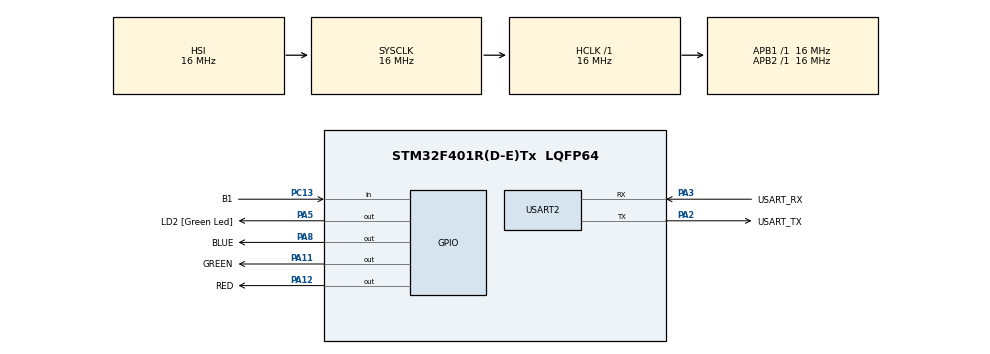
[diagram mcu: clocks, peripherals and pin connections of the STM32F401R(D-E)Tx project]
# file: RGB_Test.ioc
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Mcu.Family=STM32F4
Mcu.Name=STM32F401R(D-E)Tx
Mcu.Package=LQFP64
NVIC.PriorityGroup=NVIC_PRIORITYGROUP_4
PA11.GPIO_Label=GREEN
PA11.Signal=GPIO_Output
PA12.GPIO_Label=RED
PA12.Signal=GPIO_Output
PA13.GPIO_Label=TMS
PA13.Mode=Trace_Asynchronous_SW
PA13.Signal=SYS_JTMS-SWDIO
PA14.GPIO_Label=TCK
PA14.Mode=Trace_Asynchronous_SW
PA14.Signal=SYS_JTCK-SWCLK
PA2.GPIO_Label=USART_TX
PA2.GPIO_Mode=GPIO_MODE_AF_PP
PA2.GPIO_PuPd=GPIO_NOPULL
PA2.GPIO_Speed=GPIO_SPEED_FREQ_LOW
PA2.Mode=Asynchronous
PA2.Signal=USART2_TX
PA3.GPIO_Label=USART_RX
PA3.GPIO_Mode=GPIO_MODE_AF_PP
PA3.GPIO_PuPd=GPIO_NOPULL
PA3.GPIO_Speed=GPIO_SPEED_FREQ_LOW
PA3.Mode=Asynchronous
PA3.Signal=USART2_RX
PA5.GPIO_Label=LD2 [Green Led]
PA5.GPIO_Mode=GPIO_MODE_OUTPUT_PP
PA5.GPIO_PuPd=GPIO_NOPULL
PA5.GPIO_Speed=GPIO_SPEED_FREQ_LOW
PA5.Signal=GPIO_Output
PA8.GPIO_Label=BLUE
PA8.Signal=GPIO_Output
PB3.GPIO_Label=SWO
PB3.Mode=Trace_Asynchronous_SW
PB3.Signal=SYS_JTDO-SWO
PC13-ANTI_TAMP.GPIO_Label=B1
PC13-ANTI_TAMP.Signal=GPIO_Input
PC14-OSC32_IN.Mode=LSE-External-Oscillator
PC14-OSC32_IN.Signal=RCC_OSC32_IN
PC15-OSC32_OUT.Mode=LSE-External-Oscillator
PC15-OSC32_OUT.Signal=RCC_OSC32_OUT
PH0\ -\ OSC_IN.Mode=HSE-External-Clock-Source
PH0\ -\ OSC_IN.Signal=RCC_OSC_IN
PH1\ -\ OSC_OUT.Mode=HSE-External-Clock-Source
PH1\ -\ OSC_OUT.Signal=RCC_OSC_OUT
ProjectManager.HeapSize=0x200
ProjectManager.StackSize=0x400
ProjectManager.TargetToolchain=STM32CubeIDE
RCC.48MHZClocksFreq_Value=48000000
RCC.AHBFreq_Value=16000000
RCC.APB1Freq_Value=16000000
RCC.APB1TimFreq_Value=16000000
RCC.APB2Freq_Value=16000000
RCC.APB2TimFreq_Value=16000000
RCC.CortexFreq_Value=16000000
RCC.HCLKFreq_Value=16000000
RCC.HSE_VALUE=8000000
RCC.HSI_VALUE=16000000
RCC.PLLN=336
RCC.PLLP=RCC_PLLP_DIV4
RCC.PLLQ=7
RCC.SYSCLKFreq_VALUE=16000000
RCC.VCOOutputFreq_Value=336000000
USART2.VirtualMode=VM_ASYNC
board=NUCLEO-F401RE

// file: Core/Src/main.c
/* USER CODE BEGIN Header */
/**
  ******************************************************************************
  * @file           : main.c
  * @brief          : Main program body
  ******************************************************************************
  * @attention
  *
  * Copyright (c) 2026 STMicroelectronics.
  * All rights reserved.
  *
  * This software is licensed under terms that can be found in the LICENSE file
  * in the root directory of this software component.
  * If no LICENSE file comes with this software, it is provided AS-IS.
  *
  ******************************************************************************
  */
/* USER CODE END Header */
#include "main.h"

UART_HandleTypeDef huart2;

void SystemClock_Config(void);
static void MX_GPIO_Init(void);
static void MX_USART2_UART_Init(void);

/* USER CODE BEGIN 0 */

void RGB_Display(uint8_t red, uint8_t green, uint8_t blue)
{
	if (red)
	{
		HAL_GPIO_WritePin(RED_GPIO_Port, RED_Pin, GPIO_PIN_SET);
	}
	else
	{
		HAL_GPIO_WritePin(RED_GPIO_Port, RED_Pin, GPIO_PIN_RESET);
	}

	if (green)
	{
		HAL_GPIO_WritePin(GREEN_GPIO_Port, GREEN_Pin, GPIO_PIN_SET);
	}
	else
	{
		HAL_GPIO_WritePin(GREEN_GPIO_Port, GREEN_Pin, GPIO_PIN_RESET);
	}

	if (blue)
	{
		HAL_GPIO_WritePin(BLUE_GPIO_Port, BLUE_Pin, GPIO_PIN_SET);
	}
	else
	{
		HAL_GPIO_WritePin(BLUE_GPIO_Port, BLUE_Pin, GPIO_PIN_RESET);
	}
}

void Update_LD2_From_Button(void)
{
	// B1 on Nucleo is usually active-low:
	// pressed = GPIO_PIN_RESET
	// released = GPIO_PIN_SET
	if (HAL_GPIO_ReadPin(B1_GPIO_Port, B1_Pin) == GPIO_PIN_RESET)
	{
		HAL_GPIO_WritePin(LD2_GPIO_Port, LD2_Pin, GPIO_PIN_SET);
	}
	else
	{
		HAL_GPIO_WritePin(LD2_GPIO_Port, LD2_Pin, GPIO_PIN_RESET);
	}
}

void Delay_With_Button_Check(uint32_t delay_ms)
{
	uint32_t elapsed = 0;

	while (elapsed < delay_ms)
	{
		Update_LD2_From_Button();
		HAL_Delay(10);
		elapsed += 10;
	}
}

/* USER CODE END 0 */

int main(void)
{

  /* MCU Configuration--------------------------------------------------------*/

  /* Reset of all peripherals, Initializes the Flash interface and the Systick. */
  HAL_Init();

  /* Configure the system clock */
  SystemClock_Config();

  /* Initialize all configured peripherals */
  MX_GPIO_Init();
  MX_USART2_UART_Init();
  /* USER CODE BEGIN 2 */

  RGB_Display(0, 0, 0);   // start with RGB LED off
  HAL_GPIO_WritePin(LD2_GPIO_Port, LD2_Pin, GPIO_PIN_RESET);

  /* USER CODE END 2 */

  /* Infinite loop */
  /* USER CODE BEGIN WHILE */
  while (1)
  {
	  RGB_Display(1, 0, 0);   // red
	  Delay_With_Button_Check(1000);

	  RGB_Display(0, 0, 0);   // off
	  Delay_With_Button_Check(300);

	  RGB_Display(0, 1, 0);   // green
	  Delay_With_Button_Check(1000);

	  RGB_Display(0, 0, 0);   // off
	  Delay_With_Button_Check(300);

	  RGB_Display(0, 0, 1);   // blue
	  Delay_With_Button_Check(1000);

	  RGB_Display(0, 0, 0);   // off
	  Delay_With_Button_Check(300);

	  RGB_Display(1, 1, 0);   // yellow = red + green
	  Delay_With_Button_Check(1000);

	  RGB_Display(0, 0, 0);   // off
	  Delay_With_Button_Check(300);

	  RGB_Display(0, 1, 1);   // cyan = green + blue
	  Delay_With_Button_Check(1000);

	  RGB_Display(0, 0, 0);   // off
	  Delay_With_Button_Check(300);

	  RGB_Display(1, 0, 1);   // magenta = red + blue
	  Delay_With_Button_Check(1000);

	  RGB_Display(0, 0, 0);   // off
	  Delay_With_Button_Check(300);

	  RGB_Display(1, 1, 1);   // white = red + green + blue
	  Delay_With_Button_Check(1000);

	  RGB_Display(0, 0, 0);   // off
	  Delay_With_Button_Check(1000);

    /* USER CODE END WHILE */

  }
}

void SystemClock_Config(void)
{
  RCC_OscInitTypeDef RCC_OscInitStruct = {0};
  RCC_ClkInitTypeDef RCC_ClkInitStruct = {0};

  /** Configure the main internal regulator output voltage
  */
  __HAL_RCC_PWR_CLK_ENABLE();
  __HAL_PWR_VOLTAGESCALING_CONFIG(PWR_REGULATOR_VOLTAGE_SCALE2);

  /** Initializes the RCC Oscillators according to the specified parameters
  * in the RCC_OscInitTypeDef structure.
  */
  RCC_OscInitStruct.OscillatorType = RCC_OSCILLATORTYPE_HSI;
  RCC_OscInitStruct.HSIState = RCC_HSI_ON;
  RCC_OscInitStruct.HSICalibrationValue = RCC_HSICALIBRATION_DEFAULT;
  RCC_OscInitStruct.PLL.PLLState = RCC_PLL_NONE;
  if (HAL_RCC_OscConfig(&RCC_OscInitStruct) != HAL_OK)
  {
    Error_Handler();
  }

  /** Initializes the CPU, AHB and APB buses clocks
  */
  RCC_ClkInitStruct.ClockType = RCC_CLOCKTYPE_HCLK|RCC_CLOCKTYPE_SYSCLK
                              |RCC_CLOCKTYPE_PCLK1|RCC_CLOCKTYPE_PCLK2;
  RCC_ClkInitStruct.SYSCLKSource = RCC_SYSCLKSOURCE_HSI;
  RCC_ClkInitStruct.AHBCLKDivider = RCC_SYSCLK_DIV1;
  RCC_ClkInitStruct.APB1CLKDivider = RCC_HCLK_DIV1;
  RCC_ClkInitStruct.APB2CLKDivider = RCC_HCLK_DIV1;

  if (HAL_RCC_ClockConfig(&RCC_ClkInitStruct, FLASH_LATENCY_0) != HAL_OK)
  {
    Error_Handler();
  }
}

static void MX_USART2_UART_Init(void)
{

  huart2.Instance = USART2;
  huart2.Init.BaudRate = 115200;
  huart2.Init.WordLength = UART_WORDLENGTH_8B;
  huart2.Init.StopBits = UART_STOPBITS_1;
  huart2.Init.Parity = UART_PARITY_NONE;
  huart2.Init.Mode = UART_MODE_TX_RX;
  huart2.Init.HwFlowCtl = UART_HWCONTROL_NONE;
  huart2.Init.OverSampling = UART_OVERSAMPLING_16;
  if (HAL_UART_Init(&huart2) != HAL_OK)
  {
    Error_Handler();
  }

}

static void MX_GPIO_Init(void)
{
  GPIO_InitTypeDef GPIO_InitStruct = {0};

  /* GPIO Ports Clock Enable */
  __HAL_RCC_GPIOC_CLK_ENABLE();
  __HAL_RCC_GPIOH_CLK_ENABLE();
  __HAL_RCC_GPIOA_CLK_ENABLE();
  __HAL_RCC_GPIOB_CLK_ENABLE();

  /*Configure GPIO pin Output Level */
  HAL_GPIO_WritePin(GPIOA, LD2_Pin|BLUE_Pin|GREEN_Pin|RED_Pin, GPIO_PIN_RESET);

  /*Configure GPIO pin : B1_Pin */
  GPIO_InitStruct.Pin = B1_Pin;
  GPIO_InitStruct.Mode = GPIO_MODE_INPUT;
  GPIO_InitStruct.Pull = GPIO_NOPULL;
  HAL_GPIO_Init(B1_GPIO_Port, &GPIO_InitStruct);

  /*Configure GPIO pins : LD2_Pin BLUE_Pin GREEN_Pin RED_Pin */
  GPIO_InitStruct.Pin = LD2_Pin|BLUE_Pin|GREEN_Pin|RED_Pin;
  GPIO_InitStruct.Mode = GPIO_MODE_OUTPUT_PP;
  GPIO_InitStruct.Pull = GPIO_NOPULL;
  GPIO_InitStruct.Speed = GPIO_SPEED_FREQ_LOW;
  HAL_GPIO_Init(GPIOA, &GPIO_InitStruct);

}

void Error_Handler(void)
{
  __disable_irq();
  while (1)
  {
  }
}
